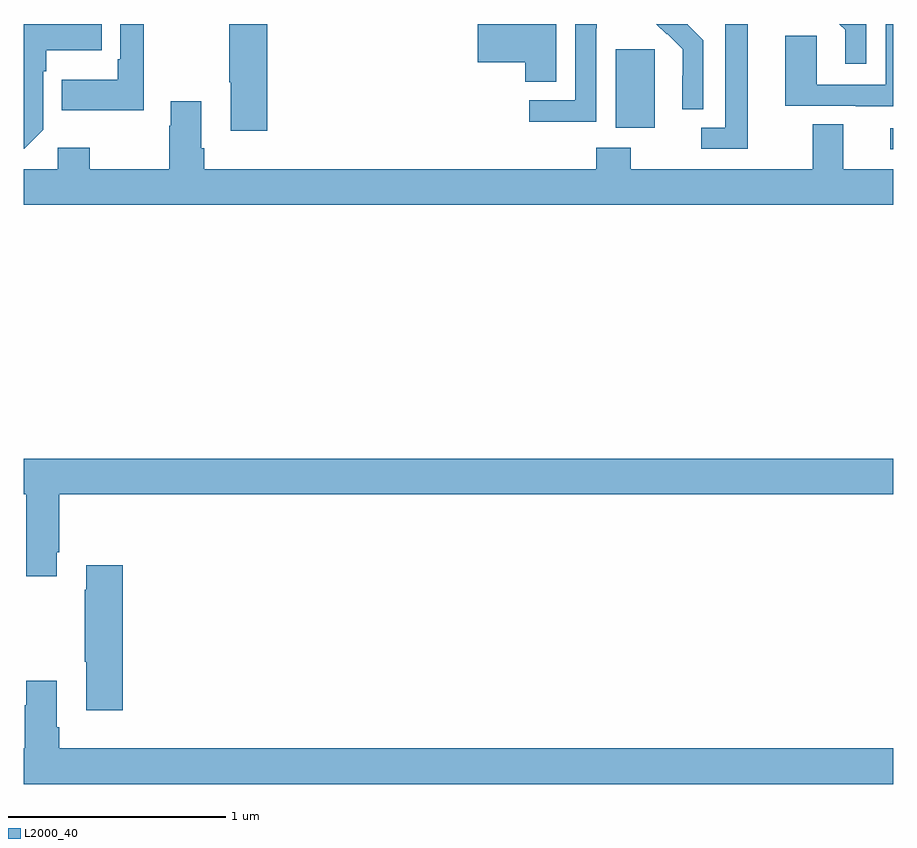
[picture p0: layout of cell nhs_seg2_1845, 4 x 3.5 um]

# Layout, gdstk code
import gdstk
lib = gdstk.Library(unit=1e-6, precision=1e-09)
def R(c, l, rs):  # rectangles x0, y0, x1, y1
    for r in rs: c.add(gdstk.rectangle(r[:2], r[2:], *l))
def P(c, l, *ps):  # polygons
    for p in ps: c.add(gdstk.Polygon(p, *l))
L2000_40 = (2000, 40)

nhs_seg2_1845 = lib.new_cell('nhs_seg2_1845')
R(nhs_seg2_1845, L2000_40, [(210.987,649.224,211,649.32), (209.723,649.322,209.902,649.683)])
P(nhs_seg2_1845, L2000_40, [(208.121,649.8),(207.946,649.8),(207.946,649.531),(207.953,649.531),(207.953,649.308),(208.121,649.308)],
  [(209.449,649.8),(209.088,649.8),(209.088,649.625),(209.306,649.625),(209.306,649.534),(209.449,649.534)],
  [(210.876,649.8),(210.752,649.8),(210.779,649.773),(210.779,649.617),(210.876,649.617)],
  [(207.09,649.314),(207.09,649.583),(207.103,649.583),(207.103,649.679),(207.359,649.679),(207.359,649.8),(207,649.8),(207,649.227),(207.003,649.227)],
  [(210.331,649.8),(210.227,649.8),(210.227,649.323),(210.117,649.323),(210.117,649.227),(210.331,649.227)],
  [(207.553,649.8),(207.444,649.8),(207.444,649.639),(207.432,649.639),(207.432,649.543),(207.175,649.543),(207.175,649.403),(207.553,649.403)],
  [(211,649.8),(210.966,649.8),(210.966,649.521),(210.648,649.521),(210.648,649.745),(210.503,649.745),(210.503,649.425),(210.827,649.425),(210.827,649.421),(211,649.421)],
  [(209.634,649.78),(209.637,649.78),(209.637,649.8),(209.538,649.8),(209.538,649.449),(209.325,649.449),(209.325,649.351),(209.634,649.351)],
  [(210.126,649.726),(210.053,649.799),(210.054,649.8),(209.91,649.8),(209.958,649.752),(209.961,649.755),(210.032,649.685),(210.032,649.562),(210.03,649.562),(210.03,649.408),(210.126,649.408)],
  [(211,649.132),(210.769,649.132),(210.769,649.34),(210.629,649.34),(210.629,649.132),(209.793,649.132),(209.793,649.231),(209.633,649.231),(209.633,649.132),(207.83,649.132),(207.83,649.228),(207.817,649.228),(207.817,649.444),(207.677,649.444),(207.677,649.331),(207.67,649.331),(207.67,649.132),(207.303,649.132),(207.303,649.231),(207.156,649.231),(207.156,649.132),(207,649.132),(207,648.968),(211,648.968)],
  [(207.151,647.371),(207.164,647.371),(207.164,647.636),(211,647.636),(211,647.8),(207,647.8),(207,647.636),(207.011,647.636),(207.011,647.259),(207.151,647.259)],
  [(207.455,647.311),(207.287,647.311),(207.287,647.198),(207.28,647.198),(207.28,646.867),(207.287,646.867),(207.287,646.644),(207.455,646.644)],
  [(211,646.468),(207.164,646.468),(207.164,646.564),(207.151,646.564),(207.151,646.78),(207.011,646.78),(207.011,646.667),(207.004,646.667),(207.004,646.468),(207,646.468),(207,646.304),(211,646.304)])

lib.write_gds('nhs_seg2_1845.gds')
